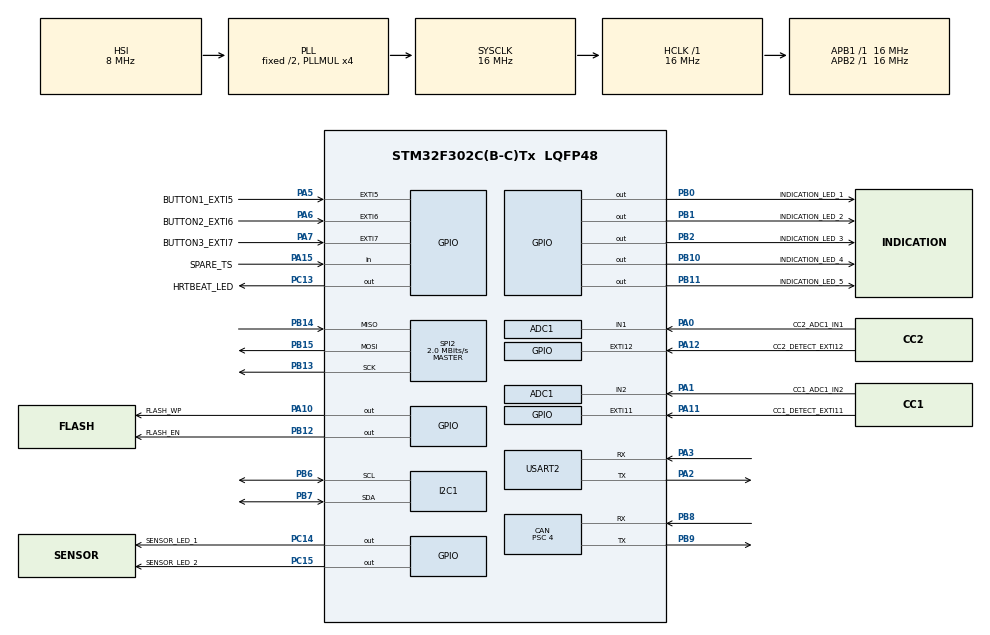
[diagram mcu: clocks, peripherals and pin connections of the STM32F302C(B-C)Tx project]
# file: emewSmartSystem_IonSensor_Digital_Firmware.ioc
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ADC1.Channel-0\#ChannelRegularConversion=ADC_CHANNEL_1
ADC1.NbrOfConversionFlag=1
ADC1.Offset-0\#ChannelRegularConversion=0
ADC1.OffsetNumber-0\#ChannelRegularConversion=ADC_OFFSET_NONE
ADC1.Rank-0\#ChannelRegularConversion=1
ADC1.SamplingTime-0\#ChannelRegularConversion=ADC_SAMPLETIME_1CYCLE_5
ADC1.master=1
CAN.BS1=CAN_BS1_13TQ
CAN.BS2=CAN_BS2_2TQ
CAN.CalculateBaudRate=250000
CAN.CalculateTimeBit=4000
CAN.CalculateTimeQuantum=250.0
CAN.NART=ENABLE
CAN.Prescaler=4
Mcu.Family=STM32F3
Mcu.Name=STM32F302C(B-C)Tx
Mcu.Package=LQFP48
NVIC.EXTI15_10_IRQn=true\:0\:0\:false\:false\:true\:true\:true\:true
NVIC.EXTI9_5_IRQn=true\:0\:0\:false\:false\:true\:true\:true\:true
NVIC.PriorityGroup=NVIC_PRIORITYGROUP_4
NVIC.TIM6_DAC_IRQn=true\:0\:0\:false\:false\:true\:true\:true\:true
PA0.GPIO_Label=CC2_ADC1_IN1
PA0.Mode=IN1-Single-Ended
PA0.Signal=ADC1_IN1
PA1.GPIO_Label=CC1_ADC1_IN2
PA1.Mode=IN2-Single-Ended
PA1.Signal=ADC1_IN2
PA10.GPIO_Label=FLASH_WP
PA10.PinState=GPIO_PIN_SET
PA10.Signal=GPIO_Output
PA11.GPIO_Label=CC1_DETECT_EXTI11
PA11.GPIO_ModeDefaultEXTI=GPIO_MODE_IT_RISING_FALLING
PA11.Signal=GPXTI11
PA12.GPIO_Label=CC2_DETECT_EXTI12
PA12.GPIO_ModeDefaultEXTI=GPIO_MODE_IT_RISING_FALLING
PA12.Signal=GPXTI12
PA13.Mode=Trace_Asynchronous_SW
PA13.Signal=SYS_JTMS-SWDIO
PA14.Mode=Trace_Asynchronous_SW
PA14.Signal=SYS_JTCK-SWCLK
PA15.GPIO_Label=SPARE_TS
PA15.Signal=GPIO_Input
PA2.Mode=Asynchronous
PA2.Signal=USART2_TX
PA3.Mode=Asynchronous
PA3.Signal=USART2_RX
PA5.GPIO_Label=BUTTON1_EXTI5
PA5.GPIO_ModeDefaultEXTI=GPIO_MODE_IT_RISING
PA5.Signal=GPXTI5
PA6.GPIO_Label=BUTTON2_EXTI6
PA6.Signal=GPXTI6
PA7.GPIO_Label=BUTTON3_EXTI7
PA7.Signal=GPXTI7
PB0.GPIO_Label=INDICATION_LED_1
PB0.Signal=GPIO_Output
PB1.GPIO_Label=INDICATION_LED_2
PB1.Signal=GPIO_Output
PB10.GPIO_Label=INDICATION_LED_4
PB10.Signal=GPIO_Output
PB11.GPIO_Label=INDICATION_LED_5
PB11.Signal=GPIO_Output
PB12.GPIO_Label=FLASH_EN
PB12.PinState=GPIO_PIN_SET
PB12.Signal=GPIO_Output
PB13.Mode=Full_Duplex_Master
PB13.Signal=SPI2_SCK
PB14.Mode=Full_Duplex_Master
PB14.Signal=SPI2_MISO
PB15.Mode=Full_Duplex_Master
PB15.Signal=SPI2_MOSI
PB2.GPIO_Label=INDICATION_LED_3
PB2.Signal=GPIO_Output
PB3.Mode=Trace_Asynchronous_SW
PB3.Signal=SYS_JTDO-TRACESWO
PB6.Mode=I2C
PB6.Signal=I2C1_SCL
PB7.Mode=I2C
PB7.Signal=I2C1_SDA
PB8.Mode=CAN_Activate
PB8.Signal=CAN_RX
PB9.Mode=CAN_Activate
PB9.Signal=CAN_TX
PC13.GPIO_Label=HRTBEAT_LED
PC13.Signal=GPIO_Output
PC14-OSC32_IN.GPIO_Label=SENSOR_LED_1
PC14-OSC32_IN.GPIO_PuPd=GPIO_PULLDOWN
PC14-OSC32_IN.Signal=GPIO_Output
PC15-OSC32_OUT.GPIO_Label=SENSOR_LED_2
PC15-OSC32_OUT.GPIO_PuPd=GPIO_PULLDOWN
PC15-OSC32_OUT.Signal=GPIO_Output
ProjectManager.HeapSize=0x200
ProjectManager.StackSize=0x400
ProjectManager.TargetToolchain=STM32CubeIDE
RCC.AHBFreq_Value=16000000
RCC.APB1Freq_Value=16000000
RCC.APB1TimFreq_Value=16000000
RCC.APB2Freq_Value=16000000
RCC.APB2TimFreq_Value=16000000
RCC.CortexFreq_Value=16000000
RCC.HCLKFreq_Value=16000000
RCC.HSE_VALUE=8000000
RCC.HSI_VALUE=8000000
RCC.LSE_VALUE=32768
RCC.PLLMUL=RCC_PLL_MUL4
RCC.SYSCLKFreq_VALUE=16000000
RCC.SYSCLKSourceVirtual=RCC_SYSCLKSOURCE_PLLCLK
RCC.USBFreq_Value=16000000
SPI2.BaudRatePrescaler=SPI_BAUDRATEPRESCALER_8
SPI2.CLKPhase=SPI_PHASE_2EDGE
SPI2.CLKPolarity=SPI_POLARITY_HIGH
SPI2.CalculateBaudRate=2.0 MBits/s
SPI2.DataSize=SPI_DATASIZE_8BIT
SPI2.Direction=SPI_DIRECTION_2LINES
SPI2.Mode=SPI_MODE_MASTER
SPI2.VirtualType=VM_MASTER
TIM16.Prescaler=16-1
TIM17.Prescaler=16000-1
TIM6.Period=500-1
TIM6.Prescaler=16000-1
USART2.VirtualMode-Asynchronous=VM_ASYNC
VP_TIM16_VS_ClockSourceINT.Mode=Enable_Timer
VP_TIM17_VS_ClockSourceINT.Mode=Enable_Timer
VP_TIM6_VS_ClockSourceINT.Mode=Enable_Timer
board=custom

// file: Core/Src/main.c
/* USER CODE BEGIN Header */
/**
  ******************************************************************************
  * @file           : main.c
  * @brief          : Main program body
  ******************************************************************************
  * @attention
  *
  * Copyright (c) 2024 STMicroelectronics.
  * All rights reserved.
  *
  * This software is licensed under terms that can be found in the LICENSE file
  * in the root directory of this software component.
  * If no LICENSE file comes with this software, it is provided AS-IS.
  *
  ******************************************************************************
  */
/* USER CODE END Header */
#include "main.h"

/* USER CODE BEGIN Includes */
#include <string.h>
#include <stdio.h>
#include <math.h>
#include <stdbool.h>

#include "./SystemRoutines/CANSetup.h"
#include "./SystemRoutines/SystemInitialization.h"
#include "./SystemRoutines/InformationPrintRoutines.h"

#include "./PrimaryStateMachine.h"
#include "./StructDefinitions.h"
#include "./Global_HALL.h"

#include "./GenericLibraries/DataSerializationLibrary.h"

#include <Peripheral_Libraries/EEPROM_Library.h>
#include "./Peripheral_Libraries/FlashMemory_Library.h"
#include <Peripheral_Libraries/MCP4726A1T_E.h>
#include <Peripheral_Libraries/MCP3421.h>
#include "./Peripheral_Libraries/CANBusProtocol_Library.h"

#include "./Support/TestingRoutine.h"
#include "./Support/ProgramEEPROM.h"

/* USER CODE END Includes */

ADC_HandleTypeDef hadc1;

CAN_HandleTypeDef hcan;

I2C_HandleTypeDef hi2c1;

SPI_HandleTypeDef hspi2;

TIM_HandleTypeDef htim6;
TIM_HandleTypeDef htim16;
TIM_HandleTypeDef htim17;

UART_HandleTypeDef huart2;

/* USER CODE BEGIN PV */
sysinfo SysInfo;

char FirmwareVersion[] = "A.1.1";
char DeviceMode[] = "Ion Sensor Digital";
char PrintBuffer[COMM_SIZE];
uint8_t VerboseMode = true;

uint32_t TxMailbox;						//CANBus Mailbox
CAN_TxHeaderTypeDef pTxHeader;			//CANBus transmit properties struct
CAN_RxHeaderTypeDef pRxHeader;			//CANBus receive properties struct
uint8_t CAN_TransmitMessage[8]={0};		//Data array to send data over CANBus
uint8_t CAN_ReceivedMessage[8]={0};		//Data array to receive data over CANBus

HAL_StatusTypeDef ret;
uint8_t Status;

_Bool MasterActivation = true;
_Bool HeartBeatFlag = false;
uint8_t PrimaryState = 0x00;
/* USER CODE END PV */

void SystemClock_Config(void);
static void MX_GPIO_Init(void);
static void MX_CAN_Init(void);
static void MX_I2C1_Init(void);
static void MX_SPI2_Init(void);
static void MX_TIM6_Init(void);
static void MX_TIM16_Init(void);
static void MX_TIM17_Init(void);
static void MX_USART2_UART_Init(void);
static void MX_ADC1_Init(void);

int main(void)
{

  /* MCU Configuration--------------------------------------------------------*/

  /* Reset of all peripherals, Initializes the Flash interface and the Systick. */
  HAL_Init();

  /* Configure the system clock */
  SystemClock_Config();

  /* Initialize all configured peripherals */
  MX_GPIO_Init();
  MX_CAN_Init();
  MX_I2C1_Init();
  MX_SPI2_Init();
  MX_TIM6_Init();
  MX_TIM16_Init();
  MX_TIM17_Init();
  MX_USART2_UART_Init();
  MX_ADC1_Init();
  /* USER CODE BEGIN 2 */

  //Prevents user code execution on firmware update
  HAL_Delay(1000);

  //Print the opening splash message
  StartupPrint_Routine();

  memset(PrintBuffer, '\0', COMM_SIZE); snprintf(PrintBuffer, COMM_SIZE-1, "\n\n\rFirmware Version: %s", FirmwareVersion );
  DebugPrint(VerboseMode, PrintBuffer, COMM_SIZE);
  memset(PrintBuffer, '\0', COMM_SIZE); snprintf(PrintBuffer, COMM_SIZE-1, "\n\rDevice Mode: %s", DeviceMode );
  DebugPrint(VerboseMode, PrintBuffer, COMM_SIZE);

  //Support functions (LEAVE DISABLED UNLESS NEEDED)
  if(0){ TestingRoutine();    		 }
  if(0){ ProgramEEPROM_All(); 		 }
  if(0){ ProgramEEPROM_CAN(); 		 }
  if(0){ ProgramEEPROM_SensorType(); }

  //Perform Ion Sensor activation routine
  if( SystemActivation() == true ){
	  memset(PrintBuffer, '\0', COMM_SIZE); snprintf(PrintBuffer, COMM_SIZE-1, "\n\rAll subsystems successfully activated"  );
	  DebugPrint(VerboseMode, PrintBuffer, COMM_SIZE);
  }else{
	  MasterActivation = false;
	  memset(PrintBuffer, '\0', COMM_SIZE); snprintf(PrintBuffer, COMM_SIZE-1, "\n\rCRITICAL ERROR - Could not activate all subsystems"  );
	  DebugPrint(VerboseMode, PrintBuffer, COMM_SIZE);
  }

  //Print the sensor information stored in the EEPROM
  SystemSettingPrint_Routine();

  //Init the CANBus with retrieved system information
  CANSetup(SysInfo.CAN_Address);
  uint32_t ReadRegister=0;
  ReadRegister=CANBUS_EXT.Instance->MCR;
  memset(PrintBuffer, '\0', COMM_SIZE); snprintf(PrintBuffer, COMM_SIZE-1, "\n\n\rCAN MCR Register: 0x%2lX", ReadRegister  );
  DebugPrint(VerboseMode, PrintBuffer, COMM_SIZE);

  /* USER CODE END 2 */

  /* Infinite loop */
  /* USER CODE BEGIN WHILE */

  //Print message saying that the master while loop has been successfully entered
  if(MasterActivation==true){
	  memset(PrintBuffer, '\0', COMM_SIZE); snprintf(PrintBuffer, COMM_SIZE-1, "\n\n\rMaster while loop entered" );
	  DebugPrint(VerboseMode, PrintBuffer, COMM_SIZE);
  }

  //uint8_t Status;
  //uint8_t ReadBuffer[6] = {0x00};
  uint8_t ctrlbool=0;

  while(MasterActivation==true){

	  //Check heart beat LED
	  if( HeartBeatFlag == true ){
		  HeartBeatFlag = false;
		  Toggle_LED_HeartBeat();
	  }

	  //Check CC1 and CC2 voltage for cable state
	  if( SysInfo.USBConnStatus_Flag == true ){
		  SysInfo.USBConnStatus_Flag = false;
		  float CC_Voltage=0;
		  STM32_ADC_ReadVoltage(&CC_Voltage, CC1_CH);
		  if(CC_Voltage>3.20){
			  SysInfo.USBConnection_State=true;
			  Set_LED_Indication2(1);
			  break;
		  }
		  STM32_ADC_ReadVoltage(&CC_Voltage, CC2_CH);
		  if(CC_Voltage>3.20){
			  SysInfo.USBConnection_State=true;
			  Set_LED_Indication3(1);
			  break;
		  }
		  SysInfo.USBConnection_State=false;
		  Set_LED_Indication1(0);
	  }

	  //Check CAN FIFO0 for an instruction on the bus
  	  if(HAL_CAN_GetRxFifoFillLevel(&CANBUS_EXT, CAN_RX_FIFO0) != 0){		//If FIFO0 has a message, retrieve it
  		  CAN_ClearFIFO(CAN_RX_FIFO1);
  		  memset(CAN_ReceivedMessage, 0, 8);
  		  ret = HAL_CAN_GetRxMessage(&CANBUS_EXT, CAN_RX_FIFO0, &pRxHeader, CAN_ReceivedMessage);
  		  if( ret == HAL_OK ) {
  			  PrimaryState = CAN_ReceivedMessage[0];
  			  memset(PrintBuffer, '\0', COMM_SIZE);  snprintf(PrintBuffer, COMM_SIZE-1, "\n\n\rCAN message received on FIFO0 from 0x%03lX", pRxHeader.StdId);
  			  DebugPrint(VerboseMode, PrintBuffer, COMM_SIZE);
  			  memset(PrintBuffer, '\0', COMM_SIZE);  snprintf(PrintBuffer, COMM_SIZE-1, "\n\r\t- PrimaryState = %u", PrimaryState);
  			  DebugPrint(VerboseMode, PrintBuffer, COMM_SIZE);
  		  }else{
  	  		  memset(PrintBuffer, '\0', COMM_SIZE);  snprintf(PrintBuffer, COMM_SIZE-1, "\n\rCAN message could not be received on FIFO0"  );
  	  		  DebugPrint(VerboseMode, PrintBuffer, COMM_SIZE);
  	  		  PrimaryState=0x00;
  		  }
  	  }

	  //Enter primary state machine
	  PrimaryStateMachine();

	  if(SysInfo.Button1==true){
		  SysInfo.Button1=false;
		  memset(PrintBuffer, '\0', COMM_SIZE); snprintf(PrintBuffer, COMM_SIZE-1, "\n\rButton 1 Pressed");
		  DebugPrint(VerboseMode, PrintBuffer, COMM_SIZE);

		  memset(PrintBuffer, '\0', COMM_SIZE); snprintf(PrintBuffer, COMM_SIZE-1, "\n\rTS Pin -> Status %u", Read_USBC_SpareTS() );
		  DebugPrint(VerboseMode, PrintBuffer, COMM_SIZE);

		  //HAL_ADCEx_Calibration_Start();
		  float VoltageValue1;
		  int8_t adc_error = STM32_ADC_ReadVoltage(&VoltageValue1, CC1_CH);
		  if( adc_error != 0 ){
			  memset(PrintBuffer, '\0', COMM_SIZE); snprintf(PrintBuffer, COMM_SIZE-1, "\n\rCC1 Error -> %d", adc_error );
			  DebugPrint(VerboseMode, PrintBuffer, COMM_SIZE );
		  }
		  memset(PrintBuffer, '\0', COMM_SIZE); snprintf(PrintBuffer, COMM_SIZE-1, "\n\rCC%u Value -> %0.3f", CC1_CH, VoltageValue1 );
		  DebugPrint(VerboseMode, PrintBuffer, COMM_SIZE );

		  /*
		  Status = MCP4726A1T_WriteAllMemory(VREF_BUFF,PD_NO,G_1X, 1600);
		  if(Status != 0x2F){
			  memset(PrintBuffer, '\0', COMM_SIZE); snprintf(PrintBuffer, COMM_SIZE-1, "\n\rDAC Write All Fail -> Status 0x%02X", Status );
			  DebugPrint(VerboseMode, PrintBuffer, COMM_SIZE);
		  }else{
			  memset(PrintBuffer, '\0', COMM_SIZE); snprintf(PrintBuffer, COMM_SIZE-1, "\n\rDAC Write All Success");
			  DebugPrint(VerboseMode, PrintBuffer, COMM_SIZE);
		  }
		  */

	  }

	  if(SysInfo.Button2==true){
		  SysInfo.Button2=false;
		  memset(PrintBuffer, '\0', COMM_SIZE); snprintf(PrintBuffer, COMM_SIZE-1, "\n\rButton 2 Pressed");
		  DebugPrint(VerboseMode, PrintBuffer, COMM_SIZE);

		  //HAL_ADCEx_Calibration_Start();
		  float VoltageValue2;
		  STM32_ADC_ReadVoltage(&VoltageValue2, CC2_CH);
		  memset(PrintBuffer, '\0', COMM_SIZE); snprintf(PrintBuffer, COMM_SIZE-1, "\n\rCC%u Value -> %0.3f", CC2_CH, VoltageValue2 );
		  DebugPrint(VerboseMode, PrintBuffer, COMM_SIZE );

		  /*
		  //Print routine enter message
		  memset(PrintBuffer, '\0', COMM_SIZE);  snprintf(PrintBuffer, COMM_SIZE-1, "\n\n\rVoltage Measurement Routine Entered"  );
		  DebugPrint(VerboseMode, PrintBuffer, COMM_SIZE);

		  //Measure voltage 5 times and take the average
		  float VoltageAverage = 0;
		  float VoltageSample;
		  for(int i=0; i<5; i++){
			  MCP3421_ADC_ReadVoltage( &VoltageSample );
			  VoltageAverage = VoltageAverage + VoltageSample;
		  }
		  VoltageAverage = VoltageAverage/5;

		  //Report voltage average to console
		  memset(PrintBuffer, '\0', COMM_SIZE);  snprintf(PrintBuffer, COMM_SIZE-1, "\n\n\rVoltage Average Measurement %0.4f V", VoltageAverage*2 );
		  DebugPrint(VerboseMode, PrintBuffer, COMM_SIZE);
		   */
		  /*
		  Status = MCP4726A1T_ReadAllMemory(ReadBuffer);
		  if(Status != 0x2F){
			  memset(PrintBuffer, '\0', COMM_SIZE); snprintf(PrintBuffer, COMM_SIZE-1, "\n\rDAC Write All Fail -> Status 0x%02X", Status );
			  DebugPrint(VerboseMode, PrintBuffer, COMM_SIZE);
		  }else{
			  memset(PrintBuffer, '\0', COMM_SIZE); snprintf(PrintBuffer, COMM_SIZE-1, "\n\rDAC Write All Success");
			  DebugPrint(VerboseMode, PrintBuffer, COMM_SIZE);
		  }

		  memset(PrintBuffer, '\0', COMM_SIZE); snprintf(PrintBuffer, COMM_SIZE-1, "\n\rRegister Read:");
		  DebugPrint(VerboseMode, PrintBuffer, COMM_SIZE);
		  for(int i=0; i<6; i++){
			  memset(PrintBuffer, '\0', COMM_SIZE); snprintf(PrintBuffer, COMM_SIZE-1, "\n\r\tVal[%d]: 0x%02X", i, ReadBuffer[i] );
			  DebugPrint(VerboseMode, PrintBuffer, COMM_SIZE);
		  }*/

	  }

	  if(SysInfo.Button3==true){
		  SysInfo.Button3=false;
		  memset(PrintBuffer, '\0', COMM_SIZE); snprintf(PrintBuffer, COMM_SIZE-1, "\n\rButton 3 Pressed");
		  DebugPrint(VerboseMode, PrintBuffer, COMM_SIZE);

		  Toggle_LED_HeartBeat();
		  if(ctrlbool==0){
			 Set_LED_Metal(1);
			 Set_LED_Turbidity(0);
			 ctrlbool = 1;
		 }else{
			 Set_LED_Metal(0);
			 Set_LED_Turbidity(1);
			 ctrlbool = 0;
		 }
	  }

    /* USER CODE END WHILE */

    /* USER CODE BEGIN 3 */
  }

  //Print message alerting user master while loops has been left
  memset(PrintBuffer, '\0', COMM_SIZE); snprintf(PrintBuffer, COMM_SIZE-1, "\n\n\rWARNING: Ion sensor shutting down" );
  DebugPrint(VerboseMode, PrintBuffer, COMM_SIZE);

  /* USER CODE END 3 */
}

void SystemClock_Config(void)
{
  RCC_OscInitTypeDef RCC_OscInitStruct = {0};
  RCC_ClkInitTypeDef RCC_ClkInitStruct = {0};
  RCC_PeriphCLKInitTypeDef PeriphClkInit = {0};

  /** Initializes the RCC Oscillators according to the specified parameters
  * in the RCC_OscInitTypeDef structure.
  */
  RCC_OscInitStruct.OscillatorType = RCC_OSCILLATORTYPE_HSI;
  RCC_OscInitStruct.HSIState = RCC_HSI_ON;
  RCC_OscInitStruct.HSICalibrationValue = RCC_HSICALIBRATION_DEFAULT;
  RCC_OscInitStruct.PLL.PLLState = RCC_PLL_ON;
  RCC_OscInitStruct.PLL.PLLSource = RCC_PLLSOURCE_HSI;
  RCC_OscInitStruct.PLL.PLLMUL = RCC_PLL_MUL4;
  if (HAL_RCC_OscConfig(&RCC_OscInitStruct) != HAL_OK)
  {
    Error_Handler();
  }

  /** Initializes the CPU, AHB and APB buses clocks
  */
  RCC_ClkInitStruct.ClockType = RCC_CLOCKTYPE_HCLK|RCC_CLOCKTYPE_SYSCLK
                              |RCC_CLOCKTYPE_PCLK1|RCC_CLOCKTYPE_PCLK2;
  RCC_ClkInitStruct.SYSCLKSource = RCC_SYSCLKSOURCE_PLLCLK;
  RCC_ClkInitStruct.AHBCLKDivider = RCC_SYSCLK_DIV1;
  RCC_ClkInitStruct.APB1CLKDivider = RCC_HCLK_DIV1;
  RCC_ClkInitStruct.APB2CLKDivider = RCC_HCLK_DIV1;

  if (HAL_RCC_ClockConfig(&RCC_ClkInitStruct, FLASH_LATENCY_0) != HAL_OK)
  {
    Error_Handler();
  }
  PeriphClkInit.PeriphClockSelection = RCC_PERIPHCLK_USART2|RCC_PERIPHCLK_I2C1
                              |RCC_PERIPHCLK_ADC12;
  PeriphClkInit.Usart2ClockSelection = RCC_USART2CLKSOURCE_PCLK1;
  PeriphClkInit.Adc12ClockSelection = RCC_ADC12PLLCLK_DIV1;
  PeriphClkInit.I2c1ClockSelection = RCC_I2C1CLKSOURCE_HSI;
  if (HAL_RCCEx_PeriphCLKConfig(&PeriphClkInit) != HAL_OK)
  {
    Error_Handler();
  }
}

static void MX_ADC1_Init(void)
{

  ADC_MultiModeTypeDef multimode = {0};
  ADC_ChannelConfTypeDef sConfig = {0};

  /** Common config
  */
  hadc1.Instance = ADC1;
  hadc1.Init.ClockPrescaler = ADC_CLOCK_ASYNC_DIV1;
  hadc1.Init.Resolution = ADC_RESOLUTION_12B;
  hadc1.Init.ScanConvMode = ADC_SCAN_DISABLE;
  hadc1.Init.ContinuousConvMode = DISABLE;
  hadc1.Init.DiscontinuousConvMode = DISABLE;
  hadc1.Init.ExternalTrigConvEdge = ADC_EXTERNALTRIGCONVEDGE_NONE;
  hadc1.Init.ExternalTrigConv = ADC_SOFTWARE_START;
  hadc1.Init.DataAlign = ADC_DATAALIGN_RIGHT;
  hadc1.Init.NbrOfConversion = 1;
  hadc1.Init.DMAContinuousRequests = DISABLE;
  hadc1.Init.EOCSelection = ADC_EOC_SINGLE_CONV;
  hadc1.Init.LowPowerAutoWait = DISABLE;
  hadc1.Init.Overrun = ADC_OVR_DATA_OVERWRITTEN;
  if (HAL_ADC_Init(&hadc1) != HAL_OK)
  {
    Error_Handler();
  }

  /** Configure the ADC multi-mode
  */
  multimode.Mode = ADC_MODE_INDEPENDENT;
  if (HAL_ADCEx_MultiModeConfigChannel(&hadc1, &multimode) != HAL_OK)
  {
    Error_Handler();
  }

  /** Configure Regular Channel
  */
  sConfig.Channel = ADC_CHANNEL_1;
  sConfig.Rank = ADC_REGULAR_RANK_1;
  sConfig.SingleDiff = ADC_SINGLE_ENDED;
  sConfig.SamplingTime = ADC_SAMPLETIME_1CYCLE_5;
  sConfig.OffsetNumber = ADC_OFFSET_NONE;
  sConfig.Offset = 0;
  if (HAL_ADC_ConfigChannel(&hadc1, &sConfig) != HAL_OK)
  {
    Error_Handler();
  }

}

static void MX_CAN_Init(void)
{

  hcan.Instance = CAN;
  hcan.Init.Prescaler = 4;
  hcan.Init.Mode = CAN_MODE_NORMAL;
  hcan.Init.SyncJumpWidth = CAN_SJW_1TQ;
  hcan.Init.TimeSeg1 = CAN_BS1_13TQ;
  hcan.Init.TimeSeg2 = CAN_BS2_2TQ;
  hcan.Init.TimeTriggeredMode = DISABLE;
  hcan.Init.AutoBusOff = DISABLE;
  hcan.Init.AutoWakeUp = DISABLE;
  hcan.Init.AutoRetransmission = ENABLE;
  hcan.Init.ReceiveFifoLocked = DISABLE;
  hcan.Init.TransmitFifoPriority = DISABLE;
  if (HAL_CAN_Init(&hcan) != HAL_OK)
  {
    Error_Handler();
  }

}

static void MX_I2C1_Init(void)
{

  hi2c1.Instance = I2C1;
  hi2c1.Init.Timing = 0x2000090E;
  hi2c1.Init.OwnAddress1 = 0;
  hi2c1.Init.AddressingMode = I2C_ADDRESSINGMODE_7BIT;
  hi2c1.Init.DualAddressMode = I2C_DUALADDRESS_DISABLE;
  hi2c1.Init.OwnAddress2 = 0;
  hi2c1.Init.OwnAddress2Masks = I2C_OA2_NOMASK;
  hi2c1.Init.GeneralCallMode = I2C_GENERALCALL_DISABLE;
  hi2c1.Init.NoStretchMode = I2C_NOSTRETCH_DISABLE;
  if (HAL_I2C_Init(&hi2c1) != HAL_OK)
  {
    Error_Handler();
  }

  /** Configure Analogue filter
  */
  if (HAL_I2CEx_ConfigAnalogFilter(&hi2c1, I2C_ANALOGFILTER_ENABLE) != HAL_OK)
  {
    Error_Handler();
  }

  /** Configure Digital filter
  */
  if (HAL_I2CEx_ConfigDigitalFilter(&hi2c1, 0) != HAL_OK)
  {
    Error_Handler();
  }

}

static void MX_SPI2_Init(void)
{

  /* SPI2 parameter configuration*/
  hspi2.Instance = SPI2;
  hspi2.Init.Mode = SPI_MODE_MASTER;
  hspi2.Init.Direction = SPI_DIRECTION_2LINES;
  hspi2.Init.DataSize = SPI_DATASIZE_8BIT;
  hspi2.Init.CLKPolarity = SPI_POLARITY_HIGH;
  hspi2.Init.CLKPhase = SPI_PHASE_2EDGE;
  hspi2.Init.NSS = SPI_NSS_SOFT;
  hspi2.Init.BaudRatePrescaler = SPI_BAUDRATEPRESCALER_8;
  hspi2.Init.FirstBit = SPI_FIRSTBIT_MSB;
  hspi2.Init.TIMode = SPI_TIMODE_DISABLE;
  hspi2.Init.CRCCalculation = SPI_CRCCALCULATION_DISABLE;
  hspi2.Init.CRCPolynomial = 7;
  hspi2.Init.CRCLength = SPI_CRC_LENGTH_DATASIZE;
  hspi2.Init.NSSPMode = SPI_NSS_PULSE_DISABLE;
  if (HAL_SPI_Init(&hspi2) != HAL_OK)
  {
    Error_Handler();
  }

}

static void MX_TIM6_Init(void)
{

  TIM_MasterConfigTypeDef sMasterConfig = {0};

  htim6.Instance = TIM6;
  htim6.Init.Prescaler = 16000-1;
  htim6.Init.CounterMode = TIM_COUNTERMODE_UP;
  htim6.Init.Period = 500-1;
  htim6.Init.AutoReloadPreload = TIM_AUTORELOAD_PRELOAD_DISABLE;
  if (HAL_TIM_Base_Init(&htim6) != HAL_OK)
  {
    Error_Handler();
  }
  sMasterConfig.MasterOutputTrigger = TIM_TRGO_RESET;
  sMasterConfig.MasterSlaveMode = TIM_MASTERSLAVEMODE_DISABLE;
  if (HAL_TIMEx_MasterConfigSynchronization(&htim6, &sMasterConfig) != HAL_OK)
  {
    Error_Handler();
  }

}

static void MX_TIM16_Init(void)
{

  htim16.Instance = TIM16;
  htim16.Init.Prescaler = 16-1;
  htim16.Init.CounterMode = TIM_COUNTERMODE_UP;
  htim16.Init.Period = 65535;
  htim16.Init.ClockDivision = TIM_CLOCKDIVISION_DIV1;
  htim16.Init.RepetitionCounter = 0;
  htim16.Init.AutoReloadPreload = TIM_AUTORELOAD_PRELOAD_DISABLE;
  if (HAL_TIM_Base_Init(&htim16) != HAL_OK)
  {
    Error_Handler();
  }

}

static void MX_TIM17_Init(void)
{

  htim17.Instance = TIM17;
  htim17.Init.Prescaler = 16000-1;
  htim17.Init.CounterMode = TIM_COUNTERMODE_UP;
  htim17.Init.Period = 65535;
  htim17.Init.ClockDivision = TIM_CLOCKDIVISION_DIV1;
  htim17.Init.RepetitionCounter = 0;
  htim17.Init.AutoReloadPreload = TIM_AUTORELOAD_PRELOAD_DISABLE;
  if (HAL_TIM_Base_Init(&htim17) != HAL_OK)
  {
    Error_Handler();
  }

}

static void MX_USART2_UART_Init(void)
{

  huart2.Instance = USART2;
  huart2.Init.BaudRate = 38400;
  huart2.Init.WordLength = UART_WORDLENGTH_8B;
  huart2.Init.StopBits = UART_STOPBITS_1;
  huart2.Init.Parity = UART_PARITY_NONE;
  huart2.Init.Mode = UART_MODE_TX_RX;
  huart2.Init.HwFlowCtl = UART_HWCONTROL_NONE;
  huart2.Init.OverSampling = UART_OVERSAMPLING_16;
  huart2.Init.OneBitSampling = UART_ONE_BIT_SAMPLE_DISABLE;
  huart2.AdvancedInit.AdvFeatureInit = UART_ADVFEATURE_NO_INIT;
  if (HAL_UART_Init(&huart2) != HAL_OK)
  {
    Error_Handler();
  }

}

static void MX_GPIO_Init(void)
{
  GPIO_InitTypeDef GPIO_InitStruct = {0};

  /* GPIO Ports Clock Enable */
  __HAL_RCC_GPIOC_CLK_ENABLE();
  __HAL_RCC_GPIOA_CLK_ENABLE();
  __HAL_RCC_GPIOB_CLK_ENABLE();

  /*Configure GPIO pin Output Level */
  HAL_GPIO_WritePin(GPIOC, HRTBEAT_LED_Pin|SENSOR_LED_1_Pin|SENSOR_LED_2_Pin, GPIO_PIN_RESET);

  /*Configure GPIO pin Output Level */
  HAL_GPIO_WritePin(GPIOB, INDICATION_LED_1_Pin|INDICATION_LED_2_Pin|INDICATION_LED_3_Pin|INDICATION_LED_4_Pin
                          |INDICATION_LED_5_Pin, GPIO_PIN_RESET);

  /*Configure GPIO pin Output Level */
  HAL_GPIO_WritePin(FLASH_EN_GPIO_Port, FLASH_EN_Pin, GPIO_PIN_SET);

  /*Configure GPIO pin Output Level */
  HAL_GPIO_WritePin(FLASH_WP_GPIO_Port, FLASH_WP_Pin, GPIO_PIN_SET);

  /*Configure GPIO pin : HRTBEAT_LED_Pin */
  GPIO_InitStruct.Pin = HRTBEAT_LED_Pin;
  GPIO_InitStruct.Mode = GPIO_MODE_OUTPUT_PP;
  GPIO_InitStruct.Pull = GPIO_NOPULL;
  GPIO_InitStruct.Speed = GPIO_SPEED_FREQ_LOW;
  HAL_GPIO_Init(HRTBEAT_LED_GPIO_Port, &GPIO_InitStruct);

  /*Configure GPIO pins : SENSOR_LED_1_Pin SENSOR_LED_2_Pin */
  GPIO_InitStruct.Pin = SENSOR_LED_1_Pin|SENSOR_LED_2_Pin;
  GPIO_InitStruct.Mode = GPIO_MODE_OUTPUT_PP;
  GPIO_InitStruct.Pull = GPIO_PULLDOWN;
  GPIO_InitStruct.Speed = GPIO_SPEED_FREQ_LOW;
  HAL_GPIO_Init(GPIOC, &GPIO_InitStruct);

  /*Configure GPIO pins : BUTTON1_EXTI5_Pin BUTTON2_EXTI6_Pin BUTTON3_EXTI7_Pin */
  GPIO_InitStruct.Pin = BUTTON1_EXTI5_Pin|BUTTON2_EXTI6_Pin|BUTTON3_EXTI7_Pin;
  GPIO_InitStruct.Mode = GPIO_MODE_IT_RISING;
  GPIO_InitStruct.Pull = GPIO_NOPULL;
  HAL_GPIO_Init(GPIOA, &GPIO_InitStruct);

  /*Configure GPIO pins : INDICATION_LED_1_Pin INDICATION_LED_2_Pin INDICATION_LED_3_Pin INDICATION_LED_4_Pin
                           INDICATION_LED_5_Pin FLASH_EN_Pin */
  GPIO_InitStruct.Pin = INDICATION_LED_1_Pin|INDICATION_LED_2_Pin|INDICATION_LED_3_Pin|INDICATION_LED_4_Pin
                          |INDICATION_LED_5_Pin|FLASH_EN_Pin;
  GPIO_InitStruct.Mode = GPIO_MODE_OUTPUT_PP;
  GPIO_InitStruct.Pull = GPIO_NOPULL;
  GPIO_InitStruct.Speed = GPIO_SPEED_FREQ_LOW;
  HAL_GPIO_Init(GPIOB, &GPIO_InitStruct);

  /*Configure GPIO pin : FLASH_WP_Pin */
  GPIO_InitStruct.Pin = FLASH_WP_Pin;
  GPIO_InitStruct.Mode = GPIO_MODE_OUTPUT_PP;
  GPIO_InitStruct.Pull = GPIO_NOPULL;
  GPIO_InitStruct.Speed = GPIO_SPEED_FREQ_LOW;
  HAL_GPIO_Init(FLASH_WP_GPIO_Port, &GPIO_InitStruct);

  /*Configure GPIO pins : CC1_DETECT_EXTI11_Pin CC2_DETECT_EXTI12_Pin */
  GPIO_InitStruct.Pin = CC1_DETECT_EXTI11_Pin|CC2_DETECT_EXTI12_Pin;
  GPIO_InitStruct.Mode = GPIO_MODE_IT_RISING_FALLING;
  GPIO_InitStruct.Pull = GPIO_NOPULL;
  HAL_GPIO_Init(GPIOA, &GPIO_InitStruct);

  /*Configure GPIO pin : SPARE_TS_Pin */
  GPIO_InitStruct.Pin = SPARE_TS_Pin;
  GPIO_InitStruct.Mode = GPIO_MODE_INPUT;
  GPIO_InitStruct.Pull = GPIO_NOPULL;
  HAL_GPIO_Init(SPARE_TS_GPIO_Port, &GPIO_InitStruct);

  /* EXTI interrupt init*/
  HAL_NVIC_SetPriority(EXTI9_5_IRQn, 0, 0);
  HAL_NVIC_EnableIRQ(EXTI9_5_IRQn);

  HAL_NVIC_SetPriority(EXTI15_10_IRQn, 0, 0);
  HAL_NVIC_EnableIRQ(EXTI15_10_IRQn);

}

void Error_Handler(void)
{
  __disable_irq();
  while (1)
  {
  }
}
